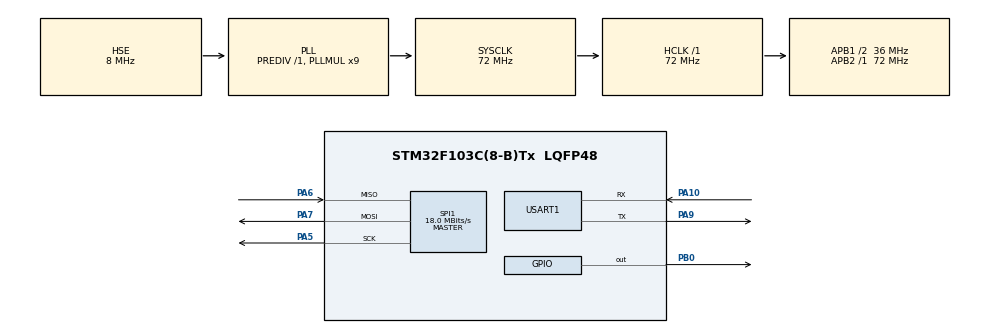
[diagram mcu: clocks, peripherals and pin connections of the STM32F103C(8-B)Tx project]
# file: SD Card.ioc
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FATFS._MAX_SS=4096
FATFS._USE_LFN=1
Mcu.Family=STM32F1
Mcu.Name=STM32F103C(8-B)Tx
Mcu.Package=LQFP48
NVIC.PriorityGroup=NVIC_PRIORITYGROUP_4
PA10.Mode=Asynchronous
PA10.Signal=USART1_RX
PA13.Mode=Serial_Wire
PA13.Signal=SYS_JTMS-SWDIO
PA14.Mode=Serial_Wire
PA14.Signal=SYS_JTCK-SWCLK
PA5.Mode=Full_Duplex_Master
PA5.Signal=SPI1_SCK
PA6.Mode=Full_Duplex_Master
PA6.Signal=SPI1_MISO
PA7.Mode=Full_Duplex_Master
PA7.Signal=SPI1_MOSI
PA9.Mode=Asynchronous
PA9.Signal=USART1_TX
PB0.Signal=GPIO_Output
PD0-OSC_IN.Mode=HSE-External-Oscillator
PD0-OSC_IN.Signal=RCC_OSC_IN
PD1-OSC_OUT.Mode=HSE-External-Oscillator
PD1-OSC_OUT.Signal=RCC_OSC_OUT
ProjectManager.HeapSize=0x200
ProjectManager.StackSize=0x400
ProjectManager.TargetToolchain=MDK-ARM V5.27
RCC.AHBFreq_Value=72000000
RCC.APB1CLKDivider=RCC_HCLK_DIV2
RCC.APB1Freq_Value=36000000
RCC.APB1TimFreq_Value=72000000
RCC.APB2Freq_Value=72000000
RCC.APB2TimFreq_Value=72000000
RCC.HCLKFreq_Value=72000000
RCC.PLLMUL=RCC_PLL_MUL9
RCC.PLLSourceVirtual=RCC_PLLSOURCE_HSE
RCC.SYSCLKFreq_VALUE=72000000
RCC.SYSCLKSource=RCC_SYSCLKSOURCE_PLLCLK
RCC.USBFreq_Value=72000000
SPI1.BaudRatePrescaler=SPI_BAUDRATEPRESCALER_4
SPI1.CalculateBaudRate=18.0 MBits/s
SPI1.Direction=SPI_DIRECTION_2LINES
SPI1.Mode=SPI_MODE_MASTER
SPI1.VirtualType=VM_MASTER
USART1.VirtualMode=VM_ASYNC
VP_FATFS_VS_Generic.Mode=User_defined
board=custom

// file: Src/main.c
/* USER CODE BEGIN Header */
/**
  ******************************************************************************
  * @file           : main.c
  * @brief          : Main program body
  ******************************************************************************
  * @attention
  *
  * <h2><center>&copy; Copyright (c) 2020 STMicroelectronics.
  * All rights reserved.</center></h2>
  *
  * This software component is licensed by ST under Ultimate Liberty license
  * SLA0044, the "License"; You may not use this file except in compliance with
  * the License. You may obtain a copy of the License at:
  *                             www.st.com/SLA0044
  *
  ******************************************************************************
  */
/* USER CODE END Header */

#include "main.h"
#include "fatfs.h"

/* USER CODE BEGIN Includes */
#include "fatfs_sd.h"
#include "string.h"
/* USER CODE END Includes */

SPI_HandleTypeDef hspi1;

UART_HandleTypeDef huart1;

void SystemClock_Config(void);
static void MX_GPIO_Init(void);
static void MX_SPI1_Init(void);
static void MX_USART1_UART_Init(void);

/* USER CODE BEGIN 0 */

FATFS fs; // file system
FIL fil; // file
FRESULT fresult; // store result
char buffer[1024]; // store data

UINT br,bw; //file read/write count

/*check sd card*/
FATFS *pfs;
DWORD fre_clust;
uint32_t total,free_space;

/*send uart*/
void send_uart(char *str)
{
	uint8_t len = strlen(str);
	HAL_UART_Transmit(&huart1,(uint8_t*)str,len,2000);
}

/*find size of buffer*/
int bufsize(char *buf)
{
	int i = 0;
	while(*buf++ != '\0') i++;
	return i;
}

void bufclear(void)
{
	for(int i =0; i<1024;i++)
	{
		buffer[i] = '\0';
	}
}

/* USER CODE END 0 */

int main(void)
{

  /* MCU Configuration--------------------------------------------------------*/

  /* Reset of all peripherals, Initializes the Flash interface and the Systick. */
  HAL_Init();

  /* Configure the system clock */
  SystemClock_Config();

  /* Initialize all configured peripherals */
  MX_GPIO_Init();
  MX_SPI1_Init();
  MX_USART1_UART_Init();
  MX_FATFS_Init();
  /* USER CODE BEGIN 2 */
	HAL_Delay(500);

	/*Mount sd card*/
	fresult = f_mount(&fs, "/", 1);
  if (fresult != FR_OK) send_uart ("ERROR!!! in mounting SD CARD...\n\n");
  else send_uart("SD CARD mounted successfully...\n\n");

	/*************** Card capacity details ********************/

	/* Check free space */
	f_getfree("", &fre_clust, &pfs);

	total = (uint32_t)((pfs->n_fatent - 2) * pfs->csize * 0.5);
	sprintf(buffer, "SD CARD Total Size: \t%lu\n",total);
	send_uart(buffer);
	bufclear();
	free_space = (uint32_t)(fre_clust * pfs->csize * 0.5);
	sprintf(buffer, "SD CARD Free Space: \t%lu\n\n",free_space);
	send_uart(buffer);

/************* The following operation is using PUTS and GETS *********************/

	/* Open file to write/ create a file if it doesn't exist */
	fresult = f_open(&fil, "file1.txt", FA_OPEN_ALWAYS | FA_READ | FA_WRITE);

	/* Writing text */
	fresult = f_puts("This data is from the FILE1.txt. And it was written using ...f_puts... ", &fil);

	/* Close file */
	fresult = f_close(&fil);

	send_uart ("File1.txt created and the data is written \n");

	/* Open file to read */
	fresult = f_open(&fil, "file1.txt", FA_READ);

	/* Read string from the file */
	f_gets(buffer, f_size(&fil), &fil);

	send_uart(buffer);

	/* Close file */
	f_close(&fil);

	bufclear();

  /* USER CODE END 2 */

  /* Infinite loop */
  while (1)
  {

  }
}

void SystemClock_Config(void)
{
  RCC_OscInitTypeDef RCC_OscInitStruct = {0};
  RCC_ClkInitTypeDef RCC_ClkInitStruct = {0};

  /** Initializes the CPU, AHB and APB busses clocks
  */
  RCC_OscInitStruct.OscillatorType = RCC_OSCILLATORTYPE_HSE;
  RCC_OscInitStruct.HSEState = RCC_HSE_ON;
  RCC_OscInitStruct.HSEPredivValue = RCC_HSE_PREDIV_DIV1;
  RCC_OscInitStruct.HSIState = RCC_HSI_ON;
  RCC_OscInitStruct.PLL.PLLState = RCC_PLL_ON;
  RCC_OscInitStruct.PLL.PLLSource = RCC_PLLSOURCE_HSE;
  RCC_OscInitStruct.PLL.PLLMUL = RCC_PLL_MUL9;
  if (HAL_RCC_OscConfig(&RCC_OscInitStruct) != HAL_OK)
  {
    Error_Handler();
  }
  /** Initializes the CPU, AHB and APB busses clocks
  */
  RCC_ClkInitStruct.ClockType = RCC_CLOCKTYPE_HCLK|RCC_CLOCKTYPE_SYSCLK
                              |RCC_CLOCKTYPE_PCLK1|RCC_CLOCKTYPE_PCLK2;
  RCC_ClkInitStruct.SYSCLKSource = RCC_SYSCLKSOURCE_PLLCLK;
  RCC_ClkInitStruct.AHBCLKDivider = RCC_SYSCLK_DIV1;
  RCC_ClkInitStruct.APB1CLKDivider = RCC_HCLK_DIV2;
  RCC_ClkInitStruct.APB2CLKDivider = RCC_HCLK_DIV1;

  if (HAL_RCC_ClockConfig(&RCC_ClkInitStruct, FLASH_LATENCY_2) != HAL_OK)
  {
    Error_Handler();
  }
}

static void MX_SPI1_Init(void)
{

  /* SPI1 parameter configuration*/
  hspi1.Instance = SPI1;
  hspi1.Init.Mode = SPI_MODE_MASTER;
  hspi1.Init.Direction = SPI_DIRECTION_2LINES;
  hspi1.Init.DataSize = SPI_DATASIZE_8BIT;
  hspi1.Init.CLKPolarity = SPI_POLARITY_LOW;
  hspi1.Init.CLKPhase = SPI_PHASE_1EDGE;
  hspi1.Init.NSS = SPI_NSS_SOFT;
  hspi1.Init.BaudRatePrescaler = SPI_BAUDRATEPRESCALER_4;
  hspi1.Init.FirstBit = SPI_FIRSTBIT_MSB;
  hspi1.Init.TIMode = SPI_TIMODE_DISABLE;
  hspi1.Init.CRCCalculation = SPI_CRCCALCULATION_DISABLE;
  hspi1.Init.CRCPolynomial = 10;
  if (HAL_SPI_Init(&hspi1) != HAL_OK)
  {
    Error_Handler();
  }

}

static void MX_USART1_UART_Init(void)
{

  huart1.Instance = USART1;
  huart1.Init.BaudRate = 115200;
  huart1.Init.WordLength = UART_WORDLENGTH_8B;
  huart1.Init.StopBits = UART_STOPBITS_1;
  huart1.Init.Parity = UART_PARITY_NONE;
  huart1.Init.Mode = UART_MODE_TX_RX;
  huart1.Init.HwFlowCtl = UART_HWCONTROL_NONE;
  huart1.Init.OverSampling = UART_OVERSAMPLING_16;
  if (HAL_UART_Init(&huart1) != HAL_OK)
  {
    Error_Handler();
  }

}

static void MX_GPIO_Init(void)
{
  GPIO_InitTypeDef GPIO_InitStruct = {0};

  /* GPIO Ports Clock Enable */
  __HAL_RCC_GPIOD_CLK_ENABLE();
  __HAL_RCC_GPIOA_CLK_ENABLE();
  __HAL_RCC_GPIOB_CLK_ENABLE();

  /*Configure GPIO pin Output Level */
  HAL_GPIO_WritePin(GPIOB, GPIO_PIN_0, GPIO_PIN_RESET);

  /*Configure GPIO pin : PB0 */
  GPIO_InitStruct.Pin = GPIO_PIN_0;
  GPIO_InitStruct.Mode = GPIO_MODE_OUTPUT_PP;
  GPIO_InitStruct.Pull = GPIO_NOPULL;
  GPIO_InitStruct.Speed = GPIO_SPEED_FREQ_LOW;
  HAL_GPIO_Init(GPIOB, &GPIO_InitStruct);

}

void Error_Handler(void)
{
}

/************************ (C) COPYRIGHT STMicroelectronics *****END OF FILE****/
